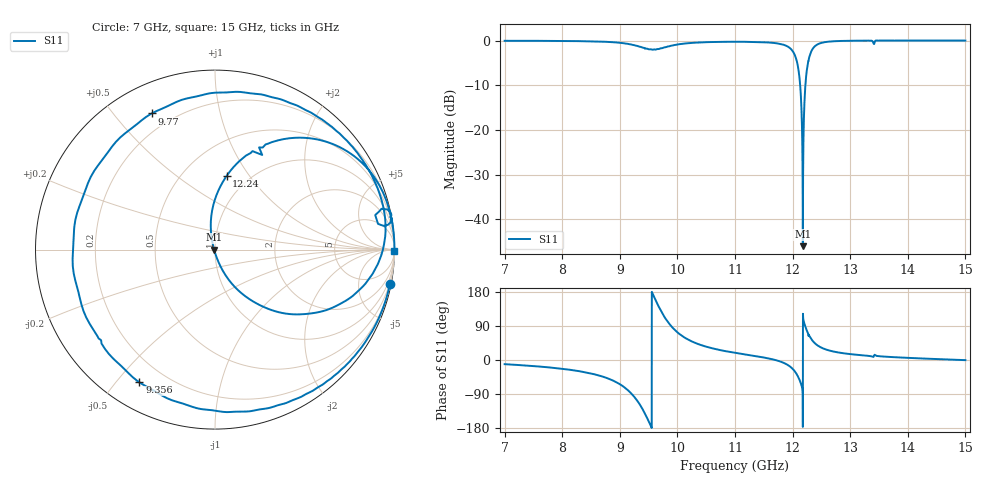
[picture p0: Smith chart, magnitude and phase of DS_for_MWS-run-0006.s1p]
! TOUCHSTONE file generated by CST DESIGN STUDIO
! Date and time: Mon Feb 10 16:49:03 2025
! Project name: C:\Work\MatlabApps\UnitCellType2OptimizationMatlab\CST\unitcell.cst
! Tree item: Tasks\Sweep1\SPara1\S-Parameters
! Header version: 2024
! Port assignment regex: !\s*Touchstone port\s*([0-9]+)\s*=\s*(CST MWS port|CST DES external port|CST DES block port)\s*(.+)\s* \(\"(.*)\"\)(\s*mode\s*([0-9]+))?.*
! Touchstone port assignment:
! Touchstone port 1 = CST DES external port 1 ("")
# GHz S MA R 50
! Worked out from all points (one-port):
!   4001 points, 7 GHz to 15 GHz, reference 50 ohm
!   lowest |S11| = -46.0 dB at 12.18 GHz (marker M1), VSWR 1.01, Z = 49.5 - j0.0296 ohm
!   |S11| at or under -10 dB: 12.13 GHz to 12.22 GHz (90.79 MHz wide, 0.746 % of centre)
!   S11 on the Smith chart (normalised r, x): 7 GHz: 0, -10; 9.356 GHz: 0.11, -0.58; 9.77 GHz: 0.13, +0.63; 12.24 GHz: 0.79, +0.79; 15 GHz: open
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7  0.9928 -11.0
8  0.9886 -23.2
8.626  0.9742 -40.4
9  0.9434 -63.8
9.212  0.8966 -90.3
9.356  0.851 -119.6
9.466  0.8113 -150.2
9.56  0.7895 178.6
9.678  0.8032 140.2
9.77  0.8364 114.9
10  0.903 73.0
10.164  0.9306 55.7
10.378  0.9501 41.1
11  0.9681 18.9
11.724  0.9308 -1.0
11.89  0.8729 -10.8
12  0.7626 -23.2
12.1  0.4794 -45.7
12.126  0.3472 -54.4
12.15  0.1973 -64.7
12.178  0.005004 -176.6
12.206  0.2056 95.1
12.238  0.4149 81.1
12.326  0.7605 54.9
12.48  0.9325 34.1
13  0.9934 15.6
14  0.9988 5.7
15  0.9995 -0.3
